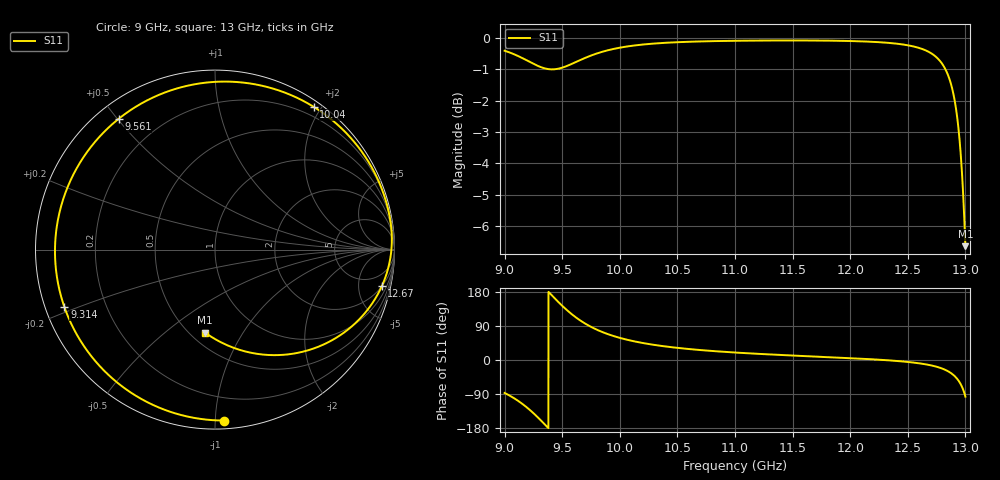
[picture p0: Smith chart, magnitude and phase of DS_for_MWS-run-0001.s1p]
! TOUCHSTONE file generated by CST DESIGN STUDIO
! Date and time: Tue Feb  4 18:04:45 2025
! Project name: C:\Work\MatlabApps\UnitCellOptimizationMatlab\CST\unitcell.cst
! Tree item: Tasks\Sweep1\SPara1\S-Parameters
! Header version: 2024
! Port assignment regex: !\s*Touchstone port\s*([0-9]+)\s*=\s*(CST MWS port|CST DES external port|CST DES block port)\s*(.+)\s* \(\"(.*)\"\)(\s*mode\s*([0-9]+))?.*
! Touchstone port assignment:
! Touchstone port 1 = CST DES external port 1 ("")
# GHz S MA R 50
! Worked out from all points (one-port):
!   4001 points, 9 GHz to 13 GHz, reference 50 ohm
!   lowest |S11| = -6.6 dB at 13 GHz (marker M1), VSWR 2.74, Z = 29.5 - j34.9 ohm
!   |S11| at or under -10 dB: nowhere
!   S11 on the Smith chart (normalised r, x): 9 GHz: 0.05, -1.05; 9.314 GHz: 0.06, -0.18; 9.561 GHz: 0.06, +0.50; 10.04 GHz: 0.08, +1.90; 12.67 GHz: 2.02, -8.71; 13 GHz: 0.59, -0.70
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9  0.9536 -86.9
9.09  0.9401 -102.4
9.167  0.9257 -118.8
9.239  0.9112 -137.2
9.314  0.8981 -159.1
9.36  0.8929 -173.5
9.404  0.8907 172.5
9.45  0.8917 158.1
9.5  0.8962 143.1
9.561  0.905 126.4
9.639  0.9185 108.0
9.728  0.9335 91.1
9.857  0.951 72.7
10  0.9643 58.4
10.038  0.967 55.3
10.24  0.9771 42.7
10.5  0.9839 32.0
11  0.989 19.7
11.5  0.9902 11.8
12  0.9881 4.9
12.5  0.9729 -5.1
12.674  0.9513 -12.4
12.795  0.9108 -22.2
12.876  0.8428 -34.8
12.915  0.7787 -45.0
12.95  0.686 -58.9
12.971  0.6067 -71.1
13  0.4659 -96.7
